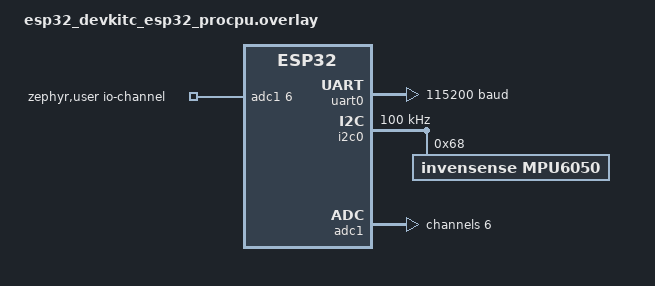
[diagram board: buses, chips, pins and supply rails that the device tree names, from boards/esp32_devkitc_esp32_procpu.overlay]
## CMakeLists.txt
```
cmake_minimum_required(VERSION 3.20.0)

find_package(Zephyr REQUIRED HINTS $ENV{ZEPHYR_BASE})
project(health_aware_tag)

target_sources(app PRIVATE src/main.cpp)

include_directories(include)
```

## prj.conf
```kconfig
# Console / printk
CONFIG_CONSOLE=y
CONFIG_UART_CONSOLE=y
CONFIG_SERIAL=y
CONFIG_PRINTK=y

CONFIG_SENSOR_LOG_LEVEL_DBG=y

# Shell over UART
CONFIG_SHELL=y
CONFIG_SHELL_BACKEND_SERIAL=y
# Change to interrupt driven for standard ESP32
CONFIG_SHELL_BACKEND_SERIAL_INTERRUPT_DRIVEN=y
CONFIG_SHELL_AUTOSTART=y
CONFIG_SHELL_PROMPT_UART="esp32$ "

# I2C
CONFIG_I2C=y

#ADC
CONFIG_ADC=y

# MPU6050 Sensor
CONFIG_SENSOR=y
CONFIG_MPU6050=y

# Required for handling sensor floating point values
CONFIG_MPU6050_TRIGGER_NONE=y 
# This is key: trigger the sensor manually rather than via a GPIO interrupt
CONFIG_CBPRINTF_FP_SUPPORT=y

CONFIG_CPP=y
# Set C++ standard to C++17 (Required for TFLM)
CONFIG_STD_CPP17=y

CONFIG_REQUIRES_FULL_LIBC=y
CONFIG_TENSORFLOW_LITE_MICRO=y
# Optimization for math operations
CONFIG_FPU=y

# Enable Bluetooth Peripheral support
CONFIG_BT=y
CONFIG_BT_PERIPHERAL=y
CONFIG_BT_DEVICE_NAME="Ioana_IOT"

# Required for data transmission
CONFIG_BT_GATT_DYNAMIC_DB=y
```

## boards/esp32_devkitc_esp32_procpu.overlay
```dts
#include <zephyr/dt-bindings/pinctrl/esp-pinctrl-common.h>
#include <zephyr/dt-bindings/pinctrl/esp32-pinctrl.h>

/ {
	chosen {
		zephyr,console = &uart0;
		zephyr,shell-uart = &uart0;
		zephyr,uart-mcumgr = &uart0;
	};
};

/ {
    zephyr,user {
        /* Point to adc1, channel 6 (GPIO 34) */
        io-channels = <&adc1 6>;
    };
};

&uart0 {
	status = "okay";
	current-speed = <115200>;
};

&pinctrl {
	i2c0_default: i2c0_default {
		group1 {
			/* Correct format for standard ESP32 pinctrl */
			pinmux = <ESP32_PINMUX(21, ESP_I2CEXT0_SDA_OUT, ESP_I2CEXT0_SDA_IN)>,
				 <ESP32_PINMUX(22, ESP_I2CEXT0_SCL_OUT, ESP_I2CEXT0_SCL_IN)>;
			bias-pull-up;
			drive-open-drain;
		};
	};
};

&i2c0 {
	status = "okay";
	pinctrl-0 = <&i2c0_default>;
	pinctrl-names = "default";
	clock-frequency = <I2C_BITRATE_STANDARD>;

	mpu6050: mpu6050@68 {
		compatible = "invensense,mpu6050";
		reg = <0x68>;
		status = "okay";
	};
};

&adc1 {
    status = "okay";
    #address-cells = <1>;
    #size-cells = <0>;

    channel@6 {
        reg = <6>;
        zephyr,gain = "ADC_GAIN_1";
        zephyr,reference = "ADC_REF_INTERNAL";
        zephyr,acquisition-time = <ADC_ACQ_TIME_DEFAULT>;
        zephyr,resolution = <12>;
    };
};
```

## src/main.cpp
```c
#include <zephyr/kernel.h>
#include <zephyr/device.h>
#include <zephyr/drivers/sensor.h>
#include <zephyr/sys/printk.h>
#include <math.h>
#include <string.h>
#include <stdio.h>

/* Bluetooth Headers */
#include <zephyr/bluetooth/bluetooth.h>
#include <zephyr/bluetooth/hci.h>
#include <zephyr/bluetooth/conn.h>
#include <zephyr/bluetooth/uuid.h>
#include <zephyr/bluetooth/gatt.h>

/* TensorFlow Lite Micro Headers */
#include "cnn_data.h"
#include "tensorflow/lite/micro/micro_interpreter.h"
#include "tensorflow/lite/micro/micro_mutable_op_resolver.h"

#define SAMPLING_RATE_MS 50   // 20Hz 
#define WINDOW_SIZE      100  // 5 Second Window

#define STACK_SIZE       8192  
#define PRIORITY         7

#define CONFIDENCE_THRESHOLD 0.50f  // Model must be 75% sure to switch
#define PERSISTENCE_COUNT    2      // Activity must stay the same for 3 windows

static int sitting_count = 0;
static const char* last_stable_activity = "Sitting";

/* --- BLE Service & Characteristic Definitions --- */
static struct bt_uuid_128 fatigue_svc_uuid = BT_UUID_INIT_128(
	BT_UUID_128_ENCODE(0x12345678, 0x1234, 0x5678, 0x1234, 0x56789abcdef0));

static struct bt_uuid_128 fatigue_char_uuid = BT_UUID_INIT_128(
	BT_UUID_128_ENCODE(0x12345678, 0x1234, 0x5678, 0x1234, 0x56789abcdef1));

static char ble_string_buffer[32];

BT_GATT_SERVICE_DEFINE(fatigue_svc,
	BT_GATT_PRIMARY_SERVICE(&fatigue_svc_uuid),
	BT_GATT_CHARACTERISTIC(&fatigue_char_uuid.uuid,
			       BT_GATT_CHRC_NOTIFY,
			       BT_GATT_PERM_READ,
			       NULL, NULL, ble_string_buffer),
	BT_GATT_CCC(NULL, BT_GATT_PERM_READ | BT_GATT_PERM_WRITE),
);

/* Define Advertising Data */
static const struct bt_data ad[] = {
    BT_DATA_BYTES(BT_DATA_FLAGS, (BT_LE_AD_GENERAL | BT_LE_AD_NO_BREDR)),
    BT_DATA(BT_DATA_NAME_COMPLETE, CONFIG_BT_DEVICE_NAME, sizeof(CONFIG_BT_DEVICE_NAME) - 1),
};

/* Define Scan Response Data (Optional: includes the Service UUID) */
static const struct bt_data sd[] = {
    BT_DATA_BYTES(BT_DATA_UUID128_ALL, 
        BT_UUID_128_ENCODE(0x12345678, 0x1234, 0x5678, 0x1234, 0x56789abcdef0)),
};

/* --- Global Buffers & Scalers --- */
static float scaler_mean[] = {10.16861631, 2.18992693, 1.0458362, 0.50270241, 30.34509955};
static float scaler_std[]  = {0.92505035, 1.66408874, 0.95093265, 0.42027198, 2.13042094};
static float accel_smv_buf[WINDOW_SIZE];
static float gyro_smv_buf[WINDOW_SIZE];
static float temp_buf[WINDOW_SIZE];
static uint16_t idx = 0;

K_SEM_DEFINE(window_full_sem, 0, 1);
K_MUTEX_DEFINE(data_mutex);
alignas(16) static uint8_t tensor_arena[60 * 1024]; 
static const struct device *mpu = DEVICE_DT_GET(DT_NODELABEL(mpu6050));

/* --- Sensor Helper --- */
float get_magnitude(struct sensor_value *val) {
    float x = (float)sensor_value_to_double(&val[0]);
    float y = (float)sensor_value_to_double(&val[1]);
    float z = (float)sensor_value_to_double(&val[2]);
    return sqrtf(x*x + y*y + z*z);
}

/* --- Statistics Helper --- */
void calculate_stats(float *buf, int size, float *mean, float *std) {
    float sum = 0.0f;
    for (int i = 0; i < size; i++) {
        sum += buf[i];
    }
    *mean = sum / size;
    
    float var = 0.0f;
    for (int i = 0; i < size; i++) {
        float diff = buf[i] - *mean;
        var += diff * diff;
    }
    *std = sqrtf(var / size);
}

float calculate_mean(float *buf, int size) {
    float sum = 0.0f;
    for (int i = 0; i < size; i++) {
        sum += buf[i];
    }
    return sum / size;
}

/* --- Sampling Thread --- */
void data_sampling_thread(void *p1, void *p2, void *p3) {
    struct sensor_value accel[3], gyro[3], temp;
    static int print_counter = 0;
    while (1) {
        if (sensor_sample_fetch(mpu) == 0) {
            sensor_channel_get(mpu, SENSOR_CHAN_ACCEL_XYZ, accel);
            sensor_channel_get(mpu, SENSOR_CHAN_GYRO_XYZ, gyro);
            sensor_channel_get(mpu, SENSOR_CHAN_DIE_TEMP, &temp);

            k_mutex_lock(&data_mutex, K_FOREVER);
            accel_smv_buf[idx] = get_magnitude(accel);
            gyro_smv_buf[idx]  = get_magnitude(gyro);
            temp_buf[idx]      = (float)sensor_value_to_double(&temp);
            idx++;
            
            /* Print every 5 seconds (5000ms / 50ms = 100 samples) */
            if (idx >= WINDOW_SIZE) { 
                idx = 0; 
                float accel_mean, accel_std, gyro_mean, gyro_std, temp_mean;
                calculate_stats(accel_smv_buf, WINDOW_SIZE, &accel_mean, &accel_std);
                calculate_stats(gyro_smv_buf, WINDOW_SIZE, &gyro_mean, &gyro_std);
                temp_mean = calculate_mean(temp_buf, WINDOW_SIZE);
                
                printk("Accel Mean: %.3f Std: %.3f | Gyro Mean: %.3f Std: %.3f | Temp: %.2f\n",
                       accel_mean, accel_std, gyro_mean, gyro_std, temp_mean);
                
                k_sem_give(&window_full_sem); 
            }
            k_mutex_unlock(&data_mutex);
        }

        k_msleep(SAMPLING_RATE_MS);
    }
}

/* --- Inference & BLE Notify Thread --- */
void inference_thread(void *p1, void *p2, void *p3) {
    const tflite::Model* model = tflite::GetModel(g_model_data);
    static tflite::MicroMutableOpResolver<10> resolver;

    resolver.AddExpandDims(); 
    resolver.AddReshape();
    resolver.AddConv2D();      
    resolver.AddMaxPool2D();   
    resolver.AddFullyConnected();
    resolver.AddSoftmax();

    static tflite::MicroInterpreter interpreter(model, resolver, tensor_arena, sizeof(tensor_arena));
    interpreter.AllocateTensors();

    TfLiteTensor* input = interpreter.input(0);
    TfLiteTensor* output = interpreter.output(0);

    // Define hysteresis variables here
    static int stability_counter = 0;
    static const char* candidate_activity = "Sitting";
    static const char* last_stable_activity = "Sitting";

    /* Start Bluetooth Advertising */
    bt_enable(NULL);
    int err = bt_le_adv_start(BT_LE_ADV_PARAM(BT_LE_ADV_OPT_CONN, 
                                               BT_GAP_ADV_FAST_INT_MIN_2, 
                                               BT_GAP_ADV_FAST_INT_MAX_2, NULL), 
                                               ad, ARRAY_SIZE(ad), sd, ARRAY_SIZE(sd));
    if (err) {
        printk("Advertising failed to start (err %d)\n", err);
        return;
    }

    while (1) {
        k_sem_take(&window_full_sem, K_FOREVER);

        /* 1. Feature Pre-processing & Physical Check */
        float a_sum = 0.0f;
        float a_sq_sum = 0.0f;

        k_mutex_lock(&data_mutex, K_FOREVER);
        
        // First pass: Calculate Mean (Average)
        for (int i = 0; i < WINDOW_SIZE; i++) {
            a_sum += accel_smv_buf[i];
        }
        float a_mean = a_sum / WINDOW_SIZE;

        // Second pass: Calculate Variance and Load Tensor
        for (int i = 0; i < WINDOW_SIZE; i++) {
            // Calculate square of the difference from mean
            a_sq_sum += powf(accel_smv_buf[i] - a_mean, 2);

            // Existing Tensor Mapping logic
            int base = i * 5;
            input->data.f[base + 0] = (accel_smv_buf[i] - scaler_mean[0]) / scaler_std[0];
            input->data.f[base + 1] = 0.0f; 
            input->data.f[base + 2] = (gyro_smv_buf[i] - scaler_mean[2]) / scaler_std[2];
            input->data.f[base + 3] = 0.0f;
            input->data.f[base + 4] = (temp_buf[i] - scaler_mean[4]) / scaler_std[4];
        }
        k_mutex_unlock(&data_mutex);

        // Calculate final standard deviation
        float accel_std_val = sqrtf(a_sq_sum / WINDOW_SIZE);

        /* 2. Run Inference and apply the Physical Override */
        if (interpreter.Invoke() == kTfLiteOk) {
            float prob_sit   = output->data.f[0];
            float prob_fresh = output->data.f[1];
            float prob_tired = output->data.f[2];

            const char* current_prediction;

            /* Logic: Priority to Physical Reality */
            if (accel_std_val < 0.2f) {
                // Physical sitting override
                current_prediction = "Sitting";
            } else {
                // Model-based prediction for walking
                if (prob_sit > prob_fresh && prob_sit > prob_tired) {
                    current_prediction = "Sitting";
                } else if (prob_fresh > prob_tired) {
                    current_prediction = "Fresh";
                } else {
                    current_prediction = "Tired";
                }
            }

            printk("Inference Results - Sitting: %.2f, Fresh: %.2f, Tired: %.2f --> %s\n", 
                   prob_sit, prob_fresh, prob_tired, current_prediction);

            /* --- HYSTERESIS FILTER --- */
            if ((prob_fresh > 0.95f || prob_tired > 0.95f) && accel_std_val > 1.0f) {
                last_stable_activity = current_prediction;
                stability_counter = 0; 
            } else {
                /* 3. Standard Hysteresis for lower confidence/transitions */
                if (strcmp(current_prediction, candidate_activity) == 0) {
                    stability_counter++;
                } else {
                    candidate_activity = current_prediction;
                    stability_counter = 0;
                }

                if (stability_counter >= PERSISTENCE_COUNT) {
                    last_stable_activity = candidate_activity;
                }
            }

            /* 4. BLE Update */
            snprintf(ble_string_buffer, sizeof(ble_string_buffer), "Act: %s", last_stable_activity);
            bt_gatt_notify(NULL, &fatigue_svc.attrs[1], ble_string_buffer, strlen(ble_string_buffer));
            printk("BLE Sent: %s\n", ble_string_buffer);
        }
        else {
            printk("TFLM: Inference failed!\n");
    }
}

K_THREAD_DEFINE(data_tid, STACK_SIZE, data_sampling_thread, NULL, NULL, NULL, PRIORITY, 0, 0);
K_THREAD_DEFINE(inf_tid, STACK_SIZE, inference_thread, NULL, NULL, NULL, PRIORITY, 0, 0);

int main(void) { 
    return 0; 
}
```

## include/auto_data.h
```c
unsigned char g_model_tflite[] = {
  0x1c, 0x00, 0x00, 0x00, 0x54, 0x46, 0x4c, 0x33, 0x14, 0x00, 0x20, 0x00,
  0x1c, 0x00, 0x18, 0x00, 0x14, 0x00, 0x10, 0x00, 0x0c, 0x00, 0x00, 0x00,
  0x08, 0x00, 0x04, 0x00, 0x14, 0x00, 0x00, 0x00, 0x1c, 0x00, 0x00, 0x00,
  0x98, 0x00, 0x00, 0x00, 0xf0, 0x00, 0x00, 0x00, 0x54, 0x03, 0x00, 0x00,
  0x64, 0x03, 0x00, 0x00, 0xac, 0x09, 0x00, 0x00, 0x03, 0x00, 0x00, 0x00,
  0x01, 0x00, 0x00, 0x00, 0x10, 0x00, 0x00, 0x00, 0x00, 0x00, 0x0a, 0x00,
  0x10, 0x00, 0x0c, 0x00, 0x08, 0x00, 0x04, 0x00, 0x0a, 0x00, 0x00, 0x00,
  0x0c, 0x00, 0x00, 0x00, 0x1c, 0x00, 0x00, 0x00, 0x3c, 0x00, 0x00, 0x00,
  0x0f, 0x00, 0x00, 0x00, 0x73, 0x65, 0x72, 0x76, 0x69, 0x6e, 0x67, 0x5f,
  0x64, 0x65, 0x66, 0x61, 0x75, 0x6c, 0x74, 0x00, 0x01, 0x00, 0x00, 0x00,
  0x04, 0x00, 0x00, 0x00, 0x90, 0xff, 0xff, 0xff, 0x0c, 0x00, 0x00, 0x00,
  0x04, 0x00, 0x00, 0x00, 0x08, 0x00, 0x00, 0x00, 0x6f, 0x75, 0x74, 0x70,
  0x75, 0x74, 0x5f, 0x30, 0x00, 0x00, 0x00, 0x00, 0x01, 0x00, 0x00, 0x00,
  0x04, 0x00, 0x00, 0x00, 0x8a, 0xfd, 0xff, 0xff, 0x04, 0x00, 0x00, 0x00,
  0x0c, 0x00, 0x00, 0x00, 0x6b, 0x65, 0x72, 0x61, 0x73, 0x5f, 0x74, 0x65,
  0x6e, 0x73, 0x6f, 0x72, 0x00, 0x00, 0x00, 0x00, 0x02, 0x00, 0x00, 0x00,
  0x34, 0x00, 0x00, 0x00, 0x04, 0x00, 0x00, 0x00, 0xdc, 0xff, 0xff, 0xff,
  0x0f, 0x00, 0x00, 0x00, 0x04, 0x00, 0x00, 0x00, 0x13, 0x00, 0x00, 0x00,
  0x43, 0x4f, 0x4e, 0x56, 0x45, 0x52, 0x53, 0x49, 0x4f, 0x4e, 0x5f, 0x4d,
  0x45, 0x54, 0x41, 0x44, 0x41, 0x54, 0x41, 0x00, 0x08, 0x00, 0x0c, 0x00,
  0x08, 0x00, 0x04, 0x00, 0x08, 0x00, 0x00, 0x00, 0x0e, 0x00, 0x00, 0x00,
  0x04, 0x00, 0x00, 0x00, 0x13, 0x00, 0x00, 0x00, 0x6d, 0x69, 0x6e, 0x5f,
  0x72, 0x75, 0x6e, 0x74, 0x69, 0x6d, 0x65, 0x5f, 0x76, 0x65, 0x72, 0x73,
  0x69, 0x6f, 0x6e, 0x00, 0x10, 0x00, 0x00, 0x00, 0x60, 0x02, 0x00, 0x00,
  0x58, 0x02, 0x00, 0x00, 0xf8, 0x01, 0x00, 0x00, 0xc0, 0x01, 0x00, 0x00,
  0x90, 0x01, 0x00, 0x00, 0x6c, 0x01, 0x00, 0x00, 0x4c, 0x01, 0x00, 0x00,
  0x34, 0x01, 0x00, 0x00, 0x14, 0x01, 0x00, 0x00, 0xb4, 0x00, 0x00, 0x00,
  0xac, 0x00, 0x00, 0x00, 0xa4, 0x00, 0x00, 0x00, 0x9c, 0x00, 0x00, 0x00,
  0x94, 0x00, 0x00, 0x00, 0x74, 0x00, 0x00, 0x00, 0x04, 0x00, 0x00, 0x00,
  0x46, 0xfe, 0xff, 0xff, 0x04, 0x00, 0x00, 0x00, 0x60, 0x00, 0x00, 0x00,
  0x10, 0x00, 0x00, 0x00, 0x00, 0x00, 0x00, 0x00, 0x08, 0x00, 0x0e, 0x00,
  0x08, 0x00, 0x04, 0x00, 0x08, 0x00, 0x00, 0x00, 0x10, 0x00, 0x00, 0x00,
  0x24, 0x00, 0x00, 0x00, 0x00, 0x00, 0x06, 0x00, 0x08, 0x00, 0x04, 0x00,
  0x06, 0x00, 0x00, 0x00, 0x04, 0x00, 0x00, 0x00, 0x00, 0x00, 0x00, 0x00,
  0x0c, 0x00, 0x18, 0x00, 0x14, 0x00, 0x10, 0x00, 0x0c, 0x00, 0x04, 0x00,
  0x0c, 0x00, 0x00, 0x00, 0x25, 0x47, 0xed, 0x76, 0x67, 0xc6, 0x1c, 0x88,
  0x02, 0x00, 0x00, 0x00, 0x02, 0x00, 0x00, 0x00, 0x04, 0x00, 0x00, 0x00,
  0x06, 0x00, 0x00, 0x00, 0x32, 0x2e, 0x31, 0x39, 0x2e, 0x30, 0x00, 0x00,
  0xb2, 0xfe, 0xff, 0xff, 0x04, 0x00, 0x00, 0x00, 0x10, 0x00, 0x00, 0x00,
  0x31, 0x2e, 0x35, 0x2e, 0x30, 0x00, 0x00, 0x00, 0x00, 0x00, 0x00, 0x00,
  0x00, 0x00, 0x00, 0x00, 0x3c, 0xf8, 0xff, 0xff, 0x40, 0xf8, 0xff, 0xff,
  0x44, 0xf8, 0xff, 0xff, 0x48, 0xf8, 0xff, 0xff, 0xde, 0xfe, 0xff, 0xff,
  0x04, 0x00, 0x00, 0x00, 0x50, 0x00, 0x00, 0x00, 0xc0, 0x4b, 0xce, 0x3c,
  0x63, 0x71, 0x0e, 0x3f, 0xac, 0xf8, 0x92, 0x3e, 0xac, 0x4e, 0x0a, 0xbf,
  0x3c, 0x86, 0x26, 0x3e, 0x12, 0x0e, 0xc7, 0xbe, 0x60, 0xe2, 0x67, 0xbe,
  0xb0, 0xd3, 0x66, 0xbe, 0x23, 0x4d, 0xec, 0x3e, 0x57, 0x02, 0xfa, 0xbe,
  0xe7, 0x7d, 0x20, 0x3f, 0xaf, 0x8d, 0x08, 0x3f, 0x95, 0xec, 0x0c, 0xbf,
  0x06, 0x2a, 0x2e, 0xbd, 0x41, 0xe9, 0xa2, 0xbe, 0xf1, 0x99, 0xb2, 0x3d,
  0xb1, 0x2c, 0x84, 0xbd, 0x59, 0xb6, 0xc8, 0xbe, 0xbc, 0x19, 0x0c, 0x3f,
  0xe1, 0xd2, 0x13, 0xbf, 0x3a, 0xff, 0xff, 0xff, 0x04, 0x00, 0x00, 0x00,
  0x10, 0x00, 0x00, 0x00, 0x05, 0xdf, 0x6a, 0xbd, 0x70, 0x35, 0x30, 0x3d,
  0xf5, 0xa1, 0xdb, 0x3d, 0x15, 0x6e, 0xad, 0xbd, 0x56, 0xff, 0xff, 0xff,
  0x04, 0x00, 0x00, 0x00, 0x08, 0x00, 0x00, 0x00, 0xfa, 0xed, 0xbe, 0x3d,
  0x16, 0xbe, 0x33, 0xbd, 0x6a, 0xff, 0xff, 0xff, 0x04, 0x00, 0x00, 0x00,
  0x10, 0x00, 0x00, 0x00, 0x00, 0x00, 0x00, 0x00, 0x00, 0x00, 0x00, 0x00,
  0xd0, 0xd5, 0x3a, 0xb9, 0x30, 0xc5, 0x65, 0xbd, 0x86, 0xff, 0xff, 0xff,
  0x04, 0x00, 0x00, 0x00, 0x14, 0x00, 0x00, 0x00, 0x49, 0x4e, 0x40, 0xbd,
  0x6d, 0x0a, 0xa0, 0xbd, 0x18, 0x75, 0xa9, 0xbd, 0xca, 0x9f, 0x9c, 0xbd,
  0x94, 0xd3, 0x4e, 0x3c, 0xa6, 0xff, 0xff, 0xff, 0x04, 0x00, 0x00, 0x00,
  0x20, 0x00, 0x00, 0x00, 0x1f, 0xcb, 0x0e, 0xbf, 0xb3, 0xca, 0x24, 0x3f,
  0x16, 0xb8, 0x8b, 0x3f, 0xdc, 0xd6, 0x23, 0xbe, 0x57, 0xf6, 0x15, 0xbf,
  0x41, 0xc4, 0x95, 0x3e, 0xfd, 0x7d, 0x19, 0xbe, 0x74, 0x58, 0x18, 0x3e,
  0xd2, 0xff, 0xff, 0xff, 0x04, 0x00, 0x00, 0x00, 0x20, 0x00, 0x00, 0x00,
  0xc0, 0xe3, 0x76, 0xbf, 0x8c, 0xb5, 0x77, 0xbf, 0x74, 0x72, 0x63, 0xbf,
  0x94, 0xd5, 0x08, 0xbf, 0x95, 0x97, 0x97, 0x3e, 0xee, 0x5f, 0x4d, 0x3f,
  0x21, 0xc9, 0x4c, 0xbd, 0x21, 0xa9, 0x3d, 0x3f, 0x00, 0x00, 0x06, 0x00,
  0x08, 0x00, 0x04, 0x00, 0x06, 0x00, 0x00, 0x00, 0x04, 0x00, 0x00, 0x00,
  0x50, 0x00, 0x00, 0x00, 0xe0, 0xed, 0xc1, 0x3e, 0xe7, 0x98, 0xb2, 0xbe,
  0xca, 0xfd, 0x46, 0x3f, 0xdd, 0x9d, 0x30, 0xbf, 0xf8, 0x19, 0x2c, 0x3f,
  0x20, 0x37, 0x48, 0x3e, 0x9e, 0xd8, 0x3a, 0x3e, 0xf4, 0x21, 0xee, 0x3d,
  0x28, 0xf5, 0xd0, 0xbe, 0x9c, 0x47, 0x05, 0x3f, 0x5d, 0xaf, 0x97, 0x3e,
  0x74, 0xc9, 0xd7, 0xbe, 0x2c, 0x56, 0x23, 0xbe, 0x7c, 0xbb, 0x0a, 0x3f,
  0x7e, 0x75, 0x67, 0xbe, 0x78, 0x19, 0x38, 0xbf, 0xc0, 0x1a, 0x09, 0xbd,
  0xca, 0x30, 0x2c, 0xbf, 0xcc, 0xbe, 0x41, 0xbf, 0x15, 0x95, 0x0d, 0x3f,
  0xd0, 0xf9, 0xff, 0xff, 0xd4, 0xf9, 0xff, 0xff, 0x0f, 0x00, 0x00, 0x00,
  0x4d, 0x4c, 0x49, 0x52, 0x20, 0x43, 0x6f, 0x6e, 0x76, 0x65, 0x72, 0x74,
  0x65, 0x64, 0x2e, 0x00, 0x01, 0x00, 0x00, 0x00, 0x14, 0x00, 0x00, 0x00,
  0x00, 0x00, 0x0e, 0x00, 0x18, 0x00, 0x14, 0x00, 0x10, 0x00, 0x0c, 0x00,
  0x08, 0x00, 0x04, 0x00, 0x0e, 0x00, 0x00, 0x00, 0x14, 0x00, 0x00, 0x00,
  0x1c, 0x00, 0x00, 0x00, 0x20, 0x01, 0x00, 0x00, 0x24, 0x01, 0x00, 0x00,
  0x28, 0x01, 0x00, 0x00, 0x04, 0x00, 0x00, 0x00, 0x6d, 0x61, 0x69, 0x6e,
  0x00, 0x00, 0x00, 0x00, 0x04, 0x00, 0x00, 0x00, 0xc8, 0x00, 0x00, 0x00,
  0x80, 0x00, 0x00, 0x00, 0x38, 0x00, 0x00, 0x00, 0x04, 0x00, 0x00, 0x00,
  0x9a, 0xff, 0xff, 0xff, 0x10, 0x00, 0x00, 0x00, 0x00, 0x00, 0x00, 0x08,
  0x0c, 0x00, 0x00, 0x00, 0x10, 0x00, 0x00, 0x00, 0x50, 0xfa, 0xff, 0xff,
  0x01, 0x00, 0x00, 0x00, 0x0c, 0x00, 0x00, 0x00, 0x03, 0x00, 0x00, 0x00,
  0x0b, 0x00, 0x00, 0x00, 0x01, 0x00, 0x00, 0x00, 0x04, 0x00, 0x00, 0x00,
  0xca, 0xff, 0xff, 0xff, 0x10, 0x00, 0x00, 0x00, 0x00, 0x00, 0x00, 0x08,
  0x10, 0x00, 0x00, 0x00, 0x14, 0x00, 0x00, 0x00, 0x76, 0xff, 0xff, 0xff,
  0x00, 0x00, 0x00, 0x01, 0x01, 0x00, 0x00, 0x00, 0x0b, 0x00, 0x00, 0x00,
  0x03, 0x00, 0x00, 0x00, 0x0a, 0x00, 0x00, 0x00, 0x02, 0x00, 0x00, 0x00,
  0x05, 0x00, 0x00, 0x00, 0x00, 0x00, 0x0e, 0x00, 0x14, 0x00, 0x00, 0x00,
  0x10, 0x00, 0x0c, 0x00, 0x0b, 0x00, 0x04, 0x00, 0x0e, 0x00, 0x00, 0x00,
  0x10, 0x00, 0x00, 0x00, 0x00, 0x00, 0x00, 0x08, 0x10, 0x00, 0x00, 0x00,
  0x14, 0x00, 0x00, 0x00, 0xba, 0xff, 0xff, 0xff, 0x00, 0x00, 0x00, 0x01,
  0x01, 0x00, 0x00, 0x00, 0x0a, 0x00, 0x00, 0x00, 0x03, 0x00, 0x00, 0x00,
  0x09, 0x00, 0x00, 0x00, 0x03, 0x00, 0x00, 0x00, 0x06, 0x00, 0x00, 0x00,
  0x00, 0x00, 0x0e, 0x00, 0x16, 0x00, 0x00, 0x00, 0x10, 0x00, 0x0c, 0x00,
  0x0b, 0x00, 0x04, 0x00, 0x0e, 0x00, 0x00, 0x00, 0x18, 0x00, 0x00, 0x00,
  0x00, 0x00, 0x00, 0x08, 0x18, 0x00, 0x00, 0x00, 0x1c, 0x00, 0x00, 0x00,
  0x00, 0x00, 0x06, 0x00, 0x08, 0x00, 0x07, 0x00, 0x06, 0x00, 0x00, 0x00,
  0x00, 0x00, 0x00, 0x01, 0x01, 0x00, 0x00, 0x00, 0x09, 0x00, 0x00, 0x00,
  0x03, 0x00, 0x00, 0x00, 0x00, 0x00, 0x00, 0x00, 0x08, 0x00, 0x00, 0x00,
  0x07, 0x00, 0x00, 0x00, 0x01, 0x00, 0x00, 0x00, 0x0c, 0x00, 0x00, 0x00,
  0x01, 0x00, 0x00, 0x00, 0x00, 0x00, 0x00, 0x00, 0x0d, 0x00, 0x00, 0x00,
  0x94, 0x04, 0x00, 0x00, 0x3c, 0x04, 0x00, 0x00, 0xe4, 0x03, 0x00, 0x00,
  0xa4, 0x03, 0x00, 0x00, 0x68, 0x03, 0x00, 0x00, 0x2c, 0x03, 0x00, 0x00,
  0xd0, 0x02, 0x00, 0x00, 0x78, 0x02, 0x00, 0x00, 0x2c, 0x02, 0x00, 0x00,
  0x98, 0x01, 0x00, 0x00, 0xfc, 0x00, 0x00, 0x00, 0x60, 0x00, 0x00, 0x00,
  0x04, 0x00, 0x00, 0x00, 0xb6, 0xfb, 0xff, 0xff, 0x00, 0x00, 0x00, 0x01,
  0x14, 0x00, 0x00, 0x00, 0x1c, 0x00, 0x00, 0x00, 0x1c, 0x00, 0x00, 0x00,
  0x0d, 0x00, 0x00, 0x00, 0x34, 0x00, 0x00, 0x00, 0x02, 0x00, 0x00, 0x00,
  0xff, 0xff, 0xff, 0xff, 0x05, 0x00, 0x00, 0x00, 0xa0, 0xfb, 0xff, 0xff,
  0x1b, 0x00, 0x00, 0x00, 0x53, 0x74, 0x61, 0x74, 0x65, 0x66, 0x75, 0x6c,
  0x50, 0x61, 0x72, 0x74, 0x69, 0x74, 0x69, 0x6f, 0x6e, 0x65, 0x64, 0x43,
  0x61, 0x6c, 0x6c, 0x5f, 0x31, 0x3a, 0x30, 0x00, 0x02, 0x00, 0x00, 0x00,
  0x01, 0x00, 0x00, 0x00, 0x05, 0x00, 0x00, 0x00, 0x0e, 0xfc, 0xff, 0xff,
  0x00, 0x00, 0x00, 0x01, 0x14, 0x00, 0x00, 0x00, 0x1c, 0x00, 0x00, 0x00,
  0x1c, 0x00, 0x00, 0x00, 0x0c, 0x00, 0x00, 0x00, 0x74, 0x00, 0x00, 0x00,
  0x02, 0x00, 0x00, 0x00, 0xff, 0xff, 0xff, 0xff, 0x04, 0x00, 0x00, 0x00,
  0xf8, 0xfb, 0xff, 0xff, 0x58, 0x00, 0x00, 0x00, 0x73, 0x65, 0x71, 0x75,
  0x65, 0x6e, 0x74, 0x69, 0x61, 0x6c, 0x5f, 0x31, 0x2f, 0x64, 0x65, 0x6e,
  0x73, 0x65, 0x5f, 0x32, 0x5f, 0x31, 0x2f, 0x4d, 0x61, 0x74, 0x4d, 0x75,
  0x6c, 0x3b, 0x73, 0x65, 0x71, 0x75, 0x65, 0x6e, 0x74, 0x69, 0x61, 0x6c,
  0x5f, 0x31, 0x2f, 0x64, 0x65, 0x6e, 0x73, 0x65, 0x5f, 0x32, 0x5f, 0x31,
  0x2f, 0x52, 0x65, 0x6c, 0x75, 0x3b, 0x73, 0x65, 0x71, 0x75, 0x65, 0x6e,
  0x74, 0x69, 0x61, 0x6c, 0x5f, 0x31, 0x2f, 0x64, 0x65, 0x6e, 0x73, 0x65,
  0x5f, 0x32, 0x5f, 0x31, 0x2f, 0x42, 0x69, 0x61, 0x73, 0x41, 0x64, 0x64,
  0x00, 0x00, 0x00, 0x00, 0x02, 0x00, 0x00, 0x00, 0x01, 0x00, 0x00, 0x00,
  0x04, 0x00, 0x00, 0x00, 0xa6, 0xfc, 0xff, 0xff, 0x00, 0x00, 0x00, 0x01,
  0x14, 0x00, 0x00, 0x00, 0x1c, 0x00, 0x00, 0x00, 0x1c, 0x00, 0x00, 0x00,
  0x0b, 0x00, 0x00, 0x00, 0x74, 0x00, 0x00, 0x00, 0x02, 0x00, 0x00, 0x00,
  0xff, 0xff, 0xff, 0xff, 0x02, 0x00, 0x00, 0x00, 0x90, 0xfc, 0xff, 0xff,
  0x58, 0x00, 0x00, 0x00, 0x73, 0x65, 0x71, 0x75, 0x65, 0x6e, 0x74, 0x69,
  0x61, 0x6c, 0x5f, 0x31, 0x2f, 0x64, 0x65, 0x6e, 0x73, 0x65, 0x5f, 0x31,
  0x5f, 0x32, 0x2f, 0x4d, 0x61, 0x74, 0x4d, 0x75, 0x6c, 0x3b, 0x73, 0x65,
  0x71, 0x75, 0x65, 0x6e, 0x74, 0x69, 0x61, 0x6c, 0x5f, 0x31, 0x2f, 0x64,
  0x65, 0x6e, 0x73, 0x65, 0x5f, 0x31, 0x5f, 0x32, 0x2f, 0x52, 0x65, 0x6c,
  0x75, 0x3b, 0x73, 0x65, 0x71, 0x75, 0x65, 0x6e, 0x74, 0x69, 0x61, 0x6c,
  0x5f, 0x31, 0x2f, 0x64, 0x65, 0x6e, 0x73, 0x65, 0x5f, 0x31, 0x5f, 0x32,
  0x2f, 0x42, 0x69, 0x61, 0x73, 0x41, 0x64, 0x64, 0x00, 0x00, 0x00, 0x00,
  0x02, 0x00, 0x00, 0x00, 0x01, 0x00, 0x00, 0x00, 0x02, 0x00, 0x00, 0x00,
  0x3e, 0xfd, 0xff, 0xff, 0x00, 0x00, 0x00, 0x01, 0x14, 0x00, 0x00, 0x00,
  0x1c, 0x00, 0x00, 0x00, 0x1c, 0x00, 0x00, 0x00, 0x0a, 0x00, 0x00, 0x00,
  0x6c, 0x00, 0x00, 0x00, 0x02, 0x00, 0x00, 0x00, 0xff, 0xff, 0xff, 0xff,
  0x04, 0x00, 0x00, 0x00, 0x28, 0xfd, 0xff, 0xff, 0x52, 0x00, 0x00, 0x00,
  0x73, 0x65, 0x71, 0x75, 0x65, 0x6e, 0x74, 0x69, 0x61, 0x6c, 0x5f, 0x31,
  0x2f, 0x64, 0x65, 0x6e, 0x73, 0x65, 0x5f, 0x31, 0x2f, 0x4d, 0x61, 0x74,
  0x4d, 0x75, 0x6c, 0x3b, 0x73, 0x65, 0x71, 0x75, 0x65, 0x6e, 0x74, 0x69,
  0x61, 0x6c, 0x5f, 0x31, 0x2f, 0x64, 0x65, 0x6e, 0x73, 0x65, 0x5f, 0x31,
  0x2f, 0x52, 0x65, 0x6c, 0x75, 0x3b, 0x73, 0x65, 0x71, 0x75, 0x65, 0x6e,
  0x74, 0x69, 0x61, 0x6c, 0x5f, 0x31, 0x2f, 0x64, 0x65, 0x6e, 0x73, 0x65,
  0x5f, 0x31, 0x2f, 0x42, 0x69, 0x61, 0x73, 0x41, 0x64, 0x64, 0x00, 0x00,
  0x02, 0x00, 0x00, 0x00, 0x01, 0x00, 0x00, 0x00, 0x04, 0x00, 0x00, 0x00,
  0x22, 0xfe, 0xff, 0xff, 0x00, 0x00, 0x00, 0x01, 0x10, 0x00, 0x00, 0x00,
  0x10, 0x00, 0x00, 0x00, 0x09, 0x00, 0x00, 0x00, 0x28, 0x00, 0x00, 0x00,
  0xa8, 0xfd, 0xff, 0xff, 0x1b, 0x00, 0x00, 0x00, 0x73, 0x65, 0x71, 0x75,
  0x65, 0x6e, 0x74, 0x69, 0x61, 0x6c, 0x5f, 0x31, 0x2f, 0x64, 0x65, 0x6e,
  0x73, 0x65, 0x5f, 0x31, 0x2f, 0x4d, 0x61, 0x74, 0x4d, 0x75, 0x6c, 0x00,
  0x02, 0x00, 0x00, 0x00, 0x04, 0x00, 0x00, 0x00, 0x05, 0x00, 0x00, 0x00,
  0x6a, 0xfe, 0xff, 0xff, 0x00, 0x00, 0x00, 0x01, 0x10, 0x00, 0x00, 0x00,
  0x10, 0x00, 0x00, 0x00, 0x08, 0x00, 0x00, 0x00, 0x38, 0x00, 0x00, 0x00,
  0xf0, 0xfd, 0xff, 0xff, 0x2b, 0x00, 0x00, 0x00, 0x73, 0x65, 0x71, 0x75,
  0x65, 0x6e, 0x74, 0x69, 0x61, 0x6c, 0x5f, 0x31, 0x2f, 0x64, 0x65, 0x6e,
  0x73, 0x65, 0x5f, 0x31, 0x2f, 0x42, 0x69, 0x61, 0x73, 0x41, 0x64, 0x64,
  0x2f, 0x52, 0x65, 0x61, 0x64, 0x56, 0x61, 0x72, 0x69, 0x61, 0x62, 0x6c,
  0x65, 0x4f, 0x70, 0x00, 0x01, 0x00, 0x00, 0x00, 0x04, 0x00, 0x00, 0x00,
  0xbe, 0xfe, 0xff, 0xff, 0x00, 0x00, 0x00, 0x01, 0x10, 0x00, 0x00, 0x00,
  0x10, 0x00, 0x00, 0x00, 0x07, 0x00, 0x00, 0x00, 0x3c, 0x00, 0x00, 0x00,
  0x44, 0xfe, 0xff, 0xff, 0x2d, 0x00, 0x00, 0x00, 0x73, 0x65, 0x71, 0x75,
  0x65, 0x6e, 0x74, 0x69, 0x61, 0x6c, 0x5f, 0x31, 0x2f, 0x64, 0x65, 0x6e,
  0x73, 0x65, 0x5f, 0x31, 0x5f, 0x32, 0x2f, 0x42, 0x69, 0x61, 0x73, 0x41,
  0x64, 0x64, 0x2f, 0x52, 0x65, 0x61, 0x64, 0x56, 0x61, 0x72, 0x69, 0x61,
  0x62, 0x6c, 0x65, 0x4f, 0x70, 0x00, 0x00, 0x00, 0x01, 0x00, 0x00, 0x00,
  0x02, 0x00, 0x00, 0x00, 0x16, 0xff, 0xff, 0xff, 0x00, 0x00, 0x00, 0x01,
  0x10, 0x00, 0x00, 0x00, 0x10, 0x00, 0x00, 0x00, 0x06, 0x00, 0x00, 0x00,
  0x1c, 0x00, 0x00, 0x00, 0x9c, 0xfe, 0xff, 0xff, 0x0f, 0x00, 0x00, 0x00,
  0x61, 0x72, 0x69, 0x74, 0x68, 0x2e, 0x63, 0x6f, 0x6e, 0x73, 0x74, 0x61,
  0x6e, 0x74, 0x34, 0x00, 0x01, 0x00, 0x00, 0x00, 0x04, 0x00, 0x00, 0x00,
  0x4e, 0xff, 0xff, 0xff, 0x00, 0x00, 0x00, 0x01, 0x10, 0x00, 0x00, 0x00,
  0x10, 0x00, 0x00, 0x00, 0x05, 0x00, 0x00, 0x00, 0x1c, 0x00, 0x00, 0x00,
  0xd4, 0xfe, 0xff, 0xff, 0x0f, 0x00, 0x00, 0x00, 0x61, 0x72, 0x69, 0x74,
  0x68, 0x2e, 0x63, 0x6f, 0x6e, 0x73, 0x74, 0x61, 0x6e, 0x74, 0x33, 0x00,
  0x01, 0x00, 0x00, 0x00, 0x05, 0x00, 0x00, 0x00, 0x86, 0xff, 0xff, 0xff,
  0x00, 0x00, 0x00, 0x01, 0x10, 0x00, 0x00, 0x00, 0x10, 0x00, 0x00, 0x00,
  0x04, 0x00, 0x00, 0x00, 0x1c, 0x00, 0x00, 0x00, 0x0c, 0xff, 0xff, 0xff,
  0x0f, 0x00, 0x00, 0x00, 0x61, 0x72, 0x69, 0x74, 0x68, 0x2e, 0x63, 0x6f,
  0x6e, 0x73, 0x74, 0x61, 0x6e, 0x74, 0x32, 0x00, 0x02, 0x00, 0x00, 0x00,
  0x02, 0x00, 0x00, 0x00, 0x04, 0x00, 0x00, 0x00, 0xc2, 0xff, 0xff, 0xff,
  0x00, 0x00, 0x00, 0x01, 0x10, 0x00, 0x00, 0x00, 0x10, 0x00, 0x00, 0x00,
  0x03, 0x00, 0x00, 0x00, 0x1c, 0x00, 0x00, 0x00, 0x48, 0xff, 0xff, 0xff,
  0x0f, 0x00, 0x00, 0x00, 0x61, 0x72, 0x69, 0x74, 0x68, 0x2e, 0x63, 0x6f,
  0x6e, 0x73, 0x74, 0x61, 0x6e, 0x74, 0x31, 0x00, 0x02, 0x00, 0x00, 0x00,
  0x04, 0x00, 0x00, 0x00, 0x02, 0x00, 0x00, 0x00, 0x00, 0x00, 0x16, 0x00,
  0x18, 0x00, 0x14, 0x00, 0x00, 0x00, 0x10, 0x00, 0x0c, 0x00, 0x08, 0x00,
  0x00, 0x00, 0x00, 0x00, 0x00, 0x00, 0x07, 0x00, 0x16, 0x00, 0x00, 0x00,
  0x00, 0x00, 0x00, 0x01, 0x10, 0x00, 0x00, 0x00, 0x10, 0x00, 0x00, 0x00,
  0x02, 0x00, 0x00, 0x00, 0x1c, 0x00, 0x00, 0x00, 0x9c, 0xff, 0xff, 0xff,
  0x0e, 0x00, 0x00, 0x00, 0x61, 0x72, 0x69, 0x74, 0x68, 0x2e, 0x63, 0x6f,
  0x6e, 0x73, 0x74, 0x61, 0x6e, 0x74, 0x00, 0x00, 0x02, 0x00, 0x00, 0x00,
  0x05, 0x00, 0x00, 0x00, 0x04, 0x00, 0x00, 0x00, 0x00, 0x00, 0x16, 0x00,
  0x1c, 0x00, 0x18, 0x00, 0x00, 0x00, 0x14, 0x00, 0x10, 0x00, 0x0c, 0x00,
  0x00, 0x00, 0x00, 0x00, 0x08, 0x00, 0x07, 0x00, 0x16, 0x00, 0x00, 0x00,
  0x00, 0x00, 0x00, 0x01, 0x14, 0x00, 0x00, 0x00, 0x20, 0x00, 0x00, 0x00,
  0x20, 0x00, 0x00, 0x00, 0x01, 0x00, 0x00, 0x00, 0x3c, 0x00, 0x00, 0x00,
  0x02, 0x00, 0x00, 0x00, 0xff, 0xff, 0xff, 0xff, 0x05, 0x00, 0x00, 0x00,
  0x04, 0x00, 0x04, 0x00, 0x04, 0x00, 0x00, 0x00, 0x1e, 0x00, 0x00, 0x00,
  0x73, 0x65, 0x72, 0x76, 0x69, 0x6e, 0x67, 0x5f, 0x64, 0x65, 0x66, 0x61,
  0x75, 0x6c, 0x74, 0x5f, 0x6b, 0x65, 0x72, 0x61, 0x73, 0x5f, 0x74, 0x65,
  0x6e, 0x73, 0x6f, 0x72, 0x3a, 0x30, 0x00, 0x00, 0x02, 0x00, 0x00, 0x00,
  0x01, 0x00, 0x00, 0x00, 0x05, 0x00, 0x00, 0x00, 0x01, 0x00, 0x00, 0x00,
  0x10, 0x00, 0x00, 0x00, 0x0c, 0x00, 0x0c, 0x00, 0x0b, 0x00, 0x00, 0x00,
  0x00, 0x00, 0x04, 0x00, 0x0c, 0x00, 0x00, 0x00, 0x09, 0x00, 0x00, 0x00,
  0x00, 0x00, 0x00, 0x09
};
unsigned int model_tflite_len = 2560;
```

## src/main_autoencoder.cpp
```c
#include <zephyr/kernel.h>
#include <zephyr/device.h>
#include <zephyr/drivers/sensor.h>
#include <zephyr/sys/printk.h>
#include <math.h>

/* TensorFlow Lite Micro Headers */
#include "auto_data.h" 
#include "tensorflow/lite/micro/micro_interpreter.h"
#include "tensorflow/lite/schema/schema_generated.h"
#include "tensorflow/lite/micro/micro_mutable_op_resolver.h"

#define SAMPLING_RATE_MS 50     // 20Hz
#define WINDOW_SIZE      20     // 1 Second Window
#define STACK_SIZE       4096  // Increased for TFLM stack requirements
#define PRIORITY         7

/* --- Feature Vector Structure --- */
typedef struct {
    float accel_smv_mean;
    float accel_smv_std;
    float gyro_smv_mean;
    float gyro_smv_std;
    float temp_avg;
} feature_vector_t;

/* --- Buffers & Sync --- */
static float accel_smv_buf[WINDOW_SIZE];
static float gyro_smv_buf[WINDOW_SIZE];
static float temp_buf[WINDOW_SIZE];
static uint16_t idx = 0;

K_SEM_DEFINE(window_full_sem, 0, 1);
K_MUTEX_DEFINE(data_mutex);

/* --- TFLM Globals --- */
// Tensor Arena: Memory where TFLM allocates input/output tensors
// alignas(16) ensures the memory is correctly aligned for the ESP32 FPU
alignas(16) static uint8_t tensor_arena[20 * 1024]; 

static const struct device *mpu = DEVICE_DT_GET(DT_NODELABEL(mpu6050));

/* --- Helper Functions --- */
float get_magnitude(struct sensor_value *val) {
    float x = (float)sensor_value_to_double(&val[0]);
    float y = (float)sensor_value_to_double(&val[1]);
    float z = (float)sensor_value_to_double(&val[2]);
    return sqrtf(x*x + y*y + z*z);
}

/* --- Data Thread: Sensor Sampling --- */
void data_sampling_thread(void *p1, void *p2, void *p3) {
    struct sensor_value accel[3], gyro[3], temp;
    while (1) {
        if (sensor_sample_fetch(mpu) == 0) {
            sensor_channel_get(mpu, SENSOR_CHAN_ACCEL_XYZ, accel);
            sensor_channel_get(mpu, SENSOR_CHAN_GYRO_XYZ, gyro);
            sensor_channel_get(mpu, SENSOR_CHAN_DIE_TEMP, &temp);

            k_mutex_lock(&data_mutex, K_FOREVER);
            accel_smv_buf[idx] = get_magnitude(accel);
            gyro_smv_buf[idx]  = get_magnitude(gyro);
            temp_buf[idx]      = (float)sensor_value_to_double(&temp);
            idx++;

            if (idx >= WINDOW_SIZE) {
                idx = 0;
                k_sem_give(&window_full_sem);
            }
            k_mutex_unlock(&data_mutex);
        }
        k_msleep(SAMPLING_RATE_MS);
    }
}

/* --- Inference Thread: Feature Extraction & TFLM --- */
void inference_thread(void *p1, void *p2, void *p3) {
    /* 1. Setup TFLM Interpreter */
    const tflite::Model* model = tflite::GetModel(g_model_tflite);
    static tflite::MicroMutableOpResolver<5> resolver;
    static tflite::MicroInterpreter interpreter(model, resolver, tensor_arena, sizeof(tensor_arena));

    // Most Autoencoders only use these three operations
    resolver.AddFullyConnected();
    resolver.AddRelu();
    resolver.AddMean(); 

    if (interpreter.AllocateTensors() != kTfLiteOk) {
        printk("TFLM: Failed to allocate tensors!\n");
        return;
    }

    TfLiteTensor* input = interpreter.input(0);
    TfLiteTensor* output = interpreter.output(0);

    while (1) {
        k_sem_take(&window_full_sem, K_FOREVER);
        
        feature_vector_t f = {0};
        float a_sq_sum = 0, g_sq_sum = 0, t_sum = 0;

        /* 2. Feature Extraction (Mean/StdDev) */
        k_mutex_lock(&data_mutex, K_FOREVER);
        for (int i = 0; i < WINDOW_SIZE; i++) {
            f.accel_smv_mean += accel_smv_buf[i];
            f.gyro_smv_mean  += gyro_smv_buf[i];
            t_sum            += temp_buf[i];
        }
        f.accel_smv_mean /= WINDOW_SIZE;
        f.gyro_smv_mean  /= WINDOW_SIZE;
        f.temp_avg        = t_sum / WINDOW_SIZE;

        for (int i = 0; i < WINDOW_SIZE; i++) {
            a_sq_sum += powf(accel_smv_buf[i] - f.accel_smv_mean, 2);
            g_sq_sum += powf(gyro_smv_buf[i] - f.gyro_smv_mean, 2);
        }
        k_mutex_unlock(&data_mutex);

        f.accel_smv_std = sqrtf(a_sq_sum / WINDOW_SIZE);
        f.gyro_smv_std  = sqrtf(g_sq_sum / WINDOW_SIZE);

        /* Log data in CSV format for training your Autoencoder */
        printk("%.2f,%.2f,%.2f,%.2f,%.2f\n", 
                (double)f.accel_smv_mean, (double)f.accel_smv_std,
                (double)f.gyro_smv_mean, (double)f.gyro_smv_std,
                (double)f.temp_avg);

        /* 3. Prepare Input Tensor */
        input->data.f[0] = f.accel_smv_mean;
        input->data.f[1] = f.accel_smv_std;
        input->data.f[2] = f.gyro_smv_mean;
        input->data.f[3] = f.gyro_smv_std;
        input->data.f[4] = f.temp_avg;

        /* 4. Run Inference */
        if (interpreter.Invoke() != kTfLiteOk) {
            printk("TFLM: Inference failed!\n");
            continue;
        }

        /* 5. Calculate Reconstruction Error (MSE) */
        float mse = 0;
        for (int i = 0; i < 5; i++) {
            printk("F[%d]: In: %.2f | Out: %.2f\n", i, (double)input->data.f[i], (double)output->data.f[i]);
            float diff = input->data.f[i] - output->data.f[i];
            mse += (diff * diff);
        }
        mse /= 5.0f;

        /* 6. Output Results */
        printk("Inference Done | MSE: %.6f | Temp: %.1f C\n", (double)mse, (double)f.temp_avg);
        
        // Example logic: Flag an anomaly if MSE exceeds your threshold
        if (mse > 0.05) { // Use the threshold from your Colab training script
            printk("ALERT: Unusual Activity or Fatigue Detected!\n");
        }
    }
}

/* --- Thread Definitions --- */
K_THREAD_DEFINE(data_tid, STACK_SIZE, data_sampling_thread, NULL, NULL, NULL, PRIORITY, 0, 0);
K_THREAD_DEFINE(inf_tid, STACK_SIZE, inference_thread, NULL, NULL, NULL, PRIORITY, 0, 0);

int main(void) { 
    printk("Wearable Fatigue Monitor Started...\n");
    return 0; 
}
```

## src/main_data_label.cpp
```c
#include <zephyr/kernel.h>
#include <zephyr/device.h>
#include <zephyr/drivers/sensor.h>
#include <zephyr/sys/printk.h>
#include <zephyr/shell/shell.h>
#include <math.h>

#define SAMPLING_RATE_MS 50    // 20Hz
#define WINDOW_SIZE      20    // 1 Second Window
#define STACK_SIZE       2048
#define PRIORITY         7

/* --- Global Label State --- */
// 0: Sitting, 1: Fresh Walking, 2: Tired Walking
static int current_label = 0; 

/* --- Buffers & Sync --- */
static float accel_smv_buf[WINDOW_SIZE];
static float gyro_smv_buf[WINDOW_SIZE];
static float temp_buf[WINDOW_SIZE];
static uint16_t idx = 0;

K_SEM_DEFINE(window_full_sem, 0, 1);
K_MUTEX_DEFINE(data_mutex);

static const struct device *mpu = DEVICE_DT_GET(DT_NODELABEL(mpu6050));

/* --- Helper: Magnitude --- */
float get_magnitude(struct sensor_value *val) {
    float x = (float)sensor_value_to_double(&val[0]);
    float y = (float)sensor_value_to_double(&val[1]);
    float z = (float)sensor_value_to_double(&val[2]);
    return sqrtf(x*x + y*y + z*z);
}

// /* --- Shell Command to Set Label --- */
// static int cmd_set_label(const struct shell *shell, size_t argc, char **argv) {
//     if (argc != 2) {
//         shell_error(shell, "Usage: label <0|1|2>");
//         return -EINVAL;
//     }
//     current_label = atoi(argv[1]);
//     shell_print(shell, "Data Label set to: %d", current_label);
//     return 0;
// }
// SHELL_CMD_REGISTER(label, NULL, "Set data label (0=Sit, 1=Fresh, 2=Tired)", cmd_set_label);

/* --- Data Thread: Sampling --- */
void data_sampling_thread(void *p1, void *p2, void *p3) {
    struct sensor_value accel[3], gyro[3], temp;
    while (1) {
        if (sensor_sample_fetch(mpu) == 0) {
            sensor_channel_get(mpu, SENSOR_CHAN_ACCEL_XYZ, accel);
            sensor_channel_get(mpu, SENSOR_CHAN_GYRO_XYZ, gyro);
            sensor_channel_get(mpu, SENSOR_CHAN_DIE_TEMP, &temp);

            k_mutex_lock(&data_mutex, K_FOREVER);
            accel_smv_buf[idx] = get_magnitude(accel);
            gyro_smv_buf[idx]  = get_magnitude(gyro);
            temp_buf[idx]      = (float)sensor_value_to_double(&temp);
            idx++;
            if (idx >= WINDOW_SIZE) {
                idx = 0;
                k_sem_give(&window_full_sem);
            }
            k_mutex_unlock(&data_mutex);
        }
        k_msleep(SAMPLING_RATE_MS);
    }
}

/* --- Logging Thread (Instead of Inference) --- */
void logging_thread(void *p1, void *p2, void *p3) {
    while (1) {
        k_sem_take(&window_full_sem, K_FOREVER);
        float a_sum = 0, g_sum = 0, t_sum = 0;
        float a_sq_sum = 0, g_sq_sum = 0;

        k_mutex_lock(&data_mutex, K_FOREVER);
        for (int i = 0; i < WINDOW_SIZE; i++) {
            a_sum += accel_smv_buf[i];
            g_sum += gyro_smv_buf[i];
            t_sum += temp_buf[i];
        }
        float a_mean = a_sum / WINDOW_SIZE;
        float g_mean = g_sum / WINDOW_SIZE;
        float t_avg  = t_sum / WINDOW_SIZE;

        for (int i = 0; i < WINDOW_SIZE; i++) {
            a_sq_sum += powf(accel_smv_buf[i] - a_mean, 2);
            g_sq_sum += powf(gyro_smv_buf[i] - g_mean, 2);
        }
        k_mutex_unlock(&data_mutex);

        float a_std = sqrtf(a_sq_sum / WINDOW_SIZE);
        float g_std = sqrtf(g_sq_sum / WINDOW_SIZE);

        /* Log in CSV format: features + label */
        printk("%.2f,%.2f,%.2f,%.2f,%.2f,%d\n", 
                (double)a_mean, (double)a_std, (double)g_mean, (double)g_std, (double)t_avg, current_label);
    }
}

K_THREAD_DEFINE(data_tid, STACK_SIZE, data_sampling_thread, NULL, NULL, NULL, PRIORITY, 0, 0);
K_THREAD_DEFINE(log_tid, STACK_SIZE, logging_thread, NULL, NULL, NULL, PRIORITY, 0, 0);

int main(void) { 
    return 0; 
}
```
